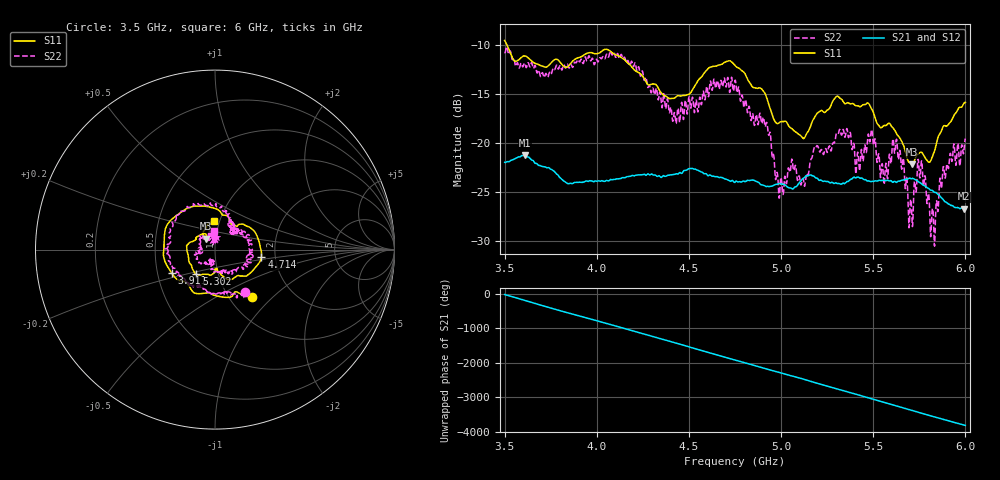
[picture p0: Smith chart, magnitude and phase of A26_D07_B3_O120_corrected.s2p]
! Created with skrf 1.9.0 (http://scikit-rf.org).
# Hz S RI R 50.0
!freq ReS11 ImS11 ReS21 ImS21 ReS12 ImS12 ReS22 ImS22
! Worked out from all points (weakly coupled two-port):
!   1601 points, 3.5 GHz to 6 GHz, reference 50 ohm
!   highest |S21| = -21.30 dB at 3.609 GHz (marker M1); lowest = -26.7 dB at 5.994 GHz (marker M2)
!   lowest |S11| = -22.2 dB at 5.711 GHz (marker M3), VSWR 1.17, Z = 45 + j5.44 ohm
!   |S11| at or under -10 dB: 3.513 GHz to end of sweep
!   |S22| runs from -30.6 to -10.2 dB; largest |S21 - S12| = 0.001
!   S11 on the Smith chart (normalised r, x): 3.5 GHz: 1.26, -0.75; 3.911 GHz: 0.59, -0.17; 4.714 GHz: 1.69, -0.15; 5.302 GHz: 0.78, -0.22; 6 GHz: 0.94, +0.31
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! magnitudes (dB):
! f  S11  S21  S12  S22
! 3.5 GHz  -9.5  -22.0  -22.0  -10.8
! 3.609 GHz  -11.1  -21.3  -21.3  -11.9
! 3.911 GHz  -11.2  -24.0  -24.0  -11.6
! 3.917 GHz  -11.2  -24.1  -24.0  -11.5
! 4.141 GHz  -11.4  -23.6  -23.6  -11.3
! 4.334 GHz  -14.4  -23.4  -23.3  -15.6
! 4.422 GHz  -15.4  -23.2  -23.2  -16.9
! 4.714 GHz  -11.6  -23.8  -23.9  -13.6
! 4.75 GHz  -12.1  -24.0  -24.0  -13.7
! 4.914 GHz  -15.0  -24.4  -24.4  -18.4
! 5 GHz  -17.9  -24.2  -24.2  -23.6
! 5.167 GHz  -17.9  -23.4  -23.3  -21.6
! 5.302 GHz  -15.3  -24.1  -24.1  -19.0
! 5.484 GHz  -16.3  -24.0  -23.9  -19.6
! 5.584 GHz  -18.0  -23.9  -23.9  -21.8
! 5.634 GHz  -19.3  -23.9  -23.9  -21.6
! 5.711 GHz  -22.2  -23.6  -23.6  -28.2
! 5.753 GHz  -21.0  -24.1  -24.0  -23.6
! 5.823 GHz  -21.3  -24.9  -24.9  -26.8
! 5.872 GHz  -18.7  -25.7  -25.6  -24.5
! 5.994 GHz  -15.9  -26.7  -26.7  -20.5
! 6 GHz  -15.9  -26.7  -26.7  -19.6
